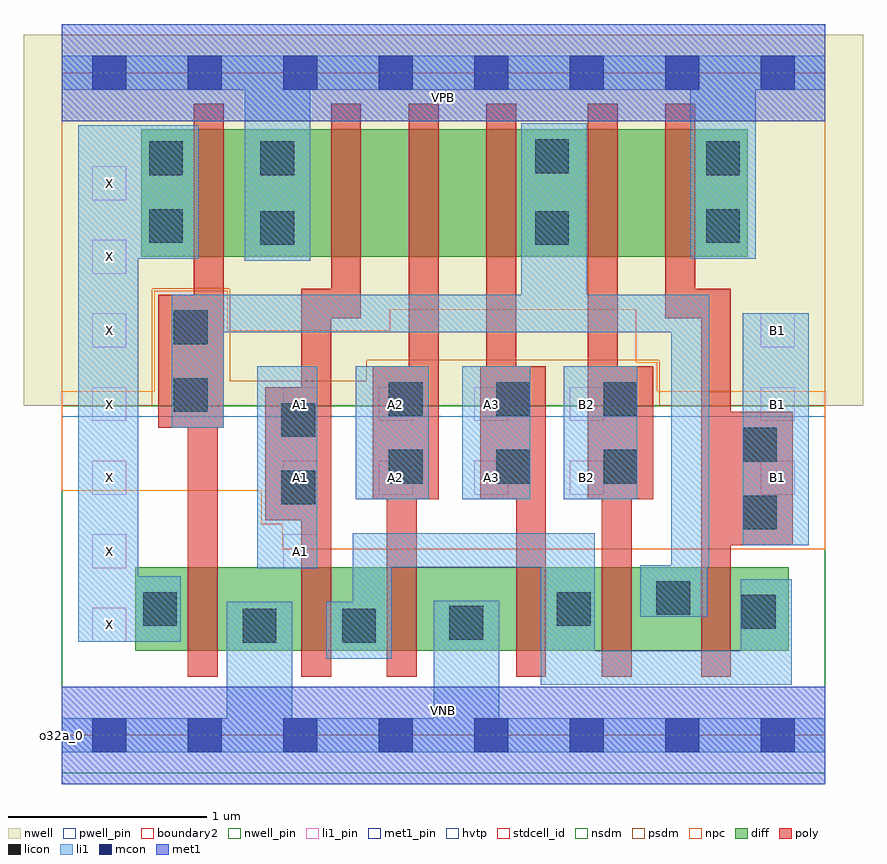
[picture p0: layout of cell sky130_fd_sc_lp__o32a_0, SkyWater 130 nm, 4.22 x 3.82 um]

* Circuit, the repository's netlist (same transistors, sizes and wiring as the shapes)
* Copyright 2020 The SkyWater PDK Authors
*
* Licensed under the Apache License, Version 2.0 (the "License");
* you may not use this file except in compliance with the License.
* You may obtain a copy of the License at
*
*     https://www.apache.org/licenses/LICENSE-2.0
*
* Unless required by applicable law or agreed to in writing, software
* distributed under the License is distributed on an "AS IS" BASIS,
* WITHOUT WARRANTIES OR CONDITIONS OF ANY KIND, either express or implied.
* See the License for the specific language governing permissions and
* limitations under the License.
*
* SPDX-License-Identifier: Apache-2.0

.SUBCKT sky130_fd_sc_lp__o32a_0 A1 A2 A3 B1 B2 VGND VNB VPB VPWR X
*.PININFO A1:I A2:I A3:I B1:I B2:I VGND:I VNB:I VPB:I VPWR:I X:O
MMPA0 VPWR A1 sndA1 VPB sky130_fd_pr__pfet_01v8_hvt m=1 w=0.64U l=0.15U mult=1
+ sa=0.265 sb=0.265 sd=0.28 area=0.063 perim=1.14
MMPA1 sndA1 A2 sndA2 VPB sky130_fd_pr__pfet_01v8_hvt m=1 w=0.64U l=0.15U mult=1
+ sa=0.265 sb=0.265 sd=0.28 area=0.063 perim=1.14
MMPA2 sndA2 A3 y VPB sky130_fd_pr__pfet_01v8_hvt m=1 w=0.64U l=0.15U mult=1 sa=0.265
+ sb=0.265 sd=0.28 area=0.063 perim=1.14
MMPB0 VPWR B1 sndB1 VPB sky130_fd_pr__pfet_01v8_hvt m=1 w=0.64U l=0.15U mult=1
+ sa=0.265 sb=0.265 sd=0.28 area=0.063 perim=1.14
MMPB1 sndB1 B2 y VPB sky130_fd_pr__pfet_01v8_hvt m=1 w=0.64U l=0.15U mult=1 sa=0.265
+ sb=0.265 sd=0.28 area=0.063 perim=1.14
MMIPX X y VPWR VPB sky130_fd_pr__pfet_01v8_hvt m=1 w=0.64U l=0.15U mult=1 sa=0.265
+ sb=0.265 sd=0.28 area=0.063 perim=1.14
MMNA0 pndA A1 VGND VNB sky130_fd_pr__nfet_01v8 m=1 w=0.42U l=0.15U mult=1 sa=0.265
+ sb=0.265 sd=0.28 area=0.063 perim=1.14
MMNA1 pndA A2 VGND VNB sky130_fd_pr__nfet_01v8 m=1 w=0.42U l=0.15U mult=1 sa=0.265
+ sb=0.265 sd=0.28 area=0.063 perim=1.14
MMNA2 pndA A3 VGND VNB sky130_fd_pr__nfet_01v8 m=1 w=0.42U l=0.15U mult=1 sa=0.265
+ sb=0.265 sd=0.28 area=0.063 perim=1.14
MMNB0 y B1 pndA VNB sky130_fd_pr__nfet_01v8 m=1 w=0.42U l=0.15U mult=1 sa=0.265
+ sb=0.265 sd=0.28 area=0.063 perim=1.14
MMNB1 y B2 pndA VNB sky130_fd_pr__nfet_01v8 m=1 w=0.42U l=0.15U mult=1 sa=0.265
+ sb=0.265 sd=0.28 area=0.063 perim=1.14
MMINX X y VGND VNB sky130_fd_pr__nfet_01v8 m=1 w=0.42U l=0.15U mult=1 sa=0.265
+ sb=0.265 sd=0.28 area=0.063 perim=1.14
.ENDS sky130_fd_sc_lp__o32a_0

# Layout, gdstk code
import gdstk
lib = gdstk.Library(unit=1e-6, precision=1e-09)
def R(c, l, rs):  # rectangles x0, y0, x1, y1
    for r in rs: c.add(gdstk.rectangle(r[:2], r[2:], *l))
def A(c, l, x, y, w, h, nx, ny, dx, dy):  # array of equal rectangles
    R(c, l, [(x+i*dx, y+j*dy, x+i*dx+w, y+j*dy+h) for i in range(nx) for j in range(ny)])
def P(c, l, *ps):  # polygons
    for p in ps: c.add(gdstk.Polygon(p, *l))
nwell_pin = (64, 16)
nwell = (64, 20)
diff = (65, 20)
poly = (66, 20)
licon = (66, 44)
li1_pin = (67, 16)
li1 = (67, 20)
mcon = (67, 44)
met1_pin = (68, 16)
met1 = (68, 20)
hvtp = (78, 44)
stdcell_id = (81, 4)
nsdm = (93, 44)
psdm = (94, 20)
npc = (95, 20)
pwell_pin = (122, 16)
boundary2 = (236, 0)

sky130_fd_sc_lp__o32a_0 = lib.new_cell('sky130_fd_sc_lp__o32a_0')
R(sky130_fd_sc_lp__o32a_0, nwell_pin, [(0,3.085,3.84,3.33)])
R(sky130_fd_sc_lp__o32a_0, nwell, [(-0.19,1.655,4.03,3.52)])
R(sky130_fd_sc_lp__o32a_0, diff, [(0.37,0.425,3.655,0.845), (0.4,2.405,3.45,3.045)])
P(sky130_fd_sc_lp__o32a_0, poly, [(0.815,3.175),(0.665,3.175),(0.665,2.215),(0.485,2.215),(0.485,1.545),(0.635,1.545),(0.635,0.295),(0.785,0.295),(0.785,1.545),(0.815,1.545)],
  [(2.435,1.855),(2.285,1.855),(2.285,3.175),(2.135,3.175),(2.135,1.855),(2.105,1.855),(2.105,1.185),(2.285,1.185),(2.285,0.295),(2.435,0.295)],
  [(3.675,1.625),(3.365,1.625),(3.365,2.245),(3.185,2.245),(3.185,3.175),(3.035,3.175),(3.035,2.095),(3.215,2.095),(3.215,0.295),(3.365,0.295),(3.365,0.955),(3.675,0.955)],
  [(2.975,1.855),(2.795,1.855),(2.795,3.175),(2.645,3.175),(2.645,1.185),(2.715,1.185),(2.715,0.295),(2.865,0.295),(2.865,1.185),(2.975,1.185)],
  [(1.505,3.175),(1.355,3.175),(1.355,2.245),(1.205,2.245),(1.205,1.75),(1.025,1.75),(1.025,1.08),(1.205,1.08),(1.205,0.295),(1.355,0.295),(1.355,2.095),(1.505,2.095)],
  [(1.895,3.175),(1.745,3.175),(1.745,1.855),(1.565,1.855),(1.565,1.185),(1.635,1.185),(1.635,0.295),(1.785,0.295),(1.785,1.185),(1.895,1.185)])
A(sky130_fd_sc_lp__o32a_0, licon, 1.645, 1.265, 0.17, 0.17, 3, 2, 0.54, 0.34)
R(sky130_fd_sc_lp__o32a_0, licon, [(0.91,0.465,1.08,0.635), (1.41,0.465,1.58,0.635), (1.95,0.48,2.12,0.65), (3.42,0.535,3.59,0.705), (0.41,0.55,0.58,0.72), (2.49,0.55,2.66,0.72), (2.99,0.605,3.16,0.775), (3.425,1.035,3.595,1.205), (1.105,1.16,1.275,1.33), (3.425,1.375,3.595,1.545), (1.105,1.5,1.275,1.67), (0.565,1.625,0.735,1.795), (0.565,1.965,0.735,2.135), (1,2.465,1.17,2.635), (2.38,2.465,2.55,2.635), (0.44,2.475,0.61,2.645), (3.24,2.475,3.41,2.645), (0.44,2.815,0.61,2.985), (1,2.815,1.17,2.985), (3.24,2.815,3.41,2.985), (2.38,2.825,2.55,2.995)])
A(sky130_fd_sc_lp__o32a_0, li1_pin, 0.155, 0.47, 0.17, 0.17, 1, 7, 0, 0.37)
A(sky130_fd_sc_lp__o32a_0, li1_pin, 1.115, 1.21, 0.17, 0.17, 4, 2, 0.48, 0.37)
A(sky130_fd_sc_lp__o32a_0, li1_pin, 3.515, 1.21, 0.17, 0.17, 1, 3, 0, 0.37)
R(sky130_fd_sc_lp__o32a_0, li1_pin, [(1.115,0.84,1.285,1.01)])
R(sky130_fd_sc_lp__o32a_0, li1, [(0.985,0.84,1.285,1.855), (3.425,0.955,3.755,2.12), (1.48,1.185,1.845,1.855), (2.015,1.185,2.355,1.855), (2.525,1.185,2.895,1.855)])
P(sky130_fd_sc_lp__o32a_0, li1, [(0.69,3.065),(0.085,3.065),(0.085,0.47),(0.6,0.47),(0.6,0.8),(0.385,0.8),(0.385,2.395),(0.69,2.395)],
  [(3.67,0.785),(3.415,0.785),(3.415,0.425),(2.68,0.425),(2.68,1.015),(1.465,1.015),(1.465,0.67),(1.33,0.67),(1.33,0.385),(1.66,0.385),(1.66,0.845),(2.41,0.845),(2.41,0.255),(3.67,0.255)],
  [(3.255,2.215),(2.64,2.215),(2.64,3.075),(2.31,3.075),(2.31,2.215),(0.555,2.215),(0.555,1.545),(0.815,1.545),(0.815,2.025),(3.065,2.025),(3.065,0.855),(2.91,0.855),(2.91,0.595),(3.245,0.595),(3.245,0.845),(3.255,0.845)],
  [(3.84,0.085),(2.2,0.085),(2.2,0.675),(1.87,0.675),(1.87,0.085),(1.16,0.085),(1.16,0.67),(0.83,0.67),(0.83,0.085),(0,0.085),(0,-0.085),(3.84,-0.085)],
  [(3.84,3.415),(0,3.415),(0,3.245),(0.92,3.245),(0.92,2.385),(1.25,2.385),(1.25,3.245),(3.16,3.245),(3.16,2.395),(3.49,2.395),(3.49,3.245),(3.84,3.245)])
A(sky130_fd_sc_lp__o32a_0, mcon, 0.155, -0.085, 0.17, 0.17, 8, 2, 0.48, 3.33)
R(sky130_fd_sc_lp__o32a_0, met1_pin, [(0,0,3.84,0.245), (0,3.085,3.84,3.33)])
R(sky130_fd_sc_lp__o32a_0, met1, [(0,-0.245,3.84,0.245), (0,3.085,3.84,3.575)])
R(sky130_fd_sc_lp__o32a_0, hvtp, [(0,1.6,3.84,3.33)])
R(sky130_fd_sc_lp__o32a_0, stdcell_id, [(0,0,3.84,3.33)])
R(sky130_fd_sc_lp__o32a_0, nsdm, [(0,-0.19,3.84,1.655)])
P(sky130_fd_sc_lp__o32a_0, psdm, [(3.84,3.52),(0,3.52),(0,1.655),(0.455,1.655),(0.455,2.245),(0.845,2.245),(0.845,1.78),(1.535,1.78),(1.535,1.885),(3.005,1.885),(3.005,1.655),(3.84,1.655)])
P(sky130_fd_sc_lp__o32a_0, npc, [(3.84,1.73),(2.995,1.73),(2.995,1.875),(2.89,1.875),(2.89,2.14),(1.65,2.14),(1.65,2.035),(0.835,2.035),(0.835,2.235),(0.465,2.235),(0.465,1.73),(0,1.73),(0,1.23),(1.005,1.23),(1.005,1.06),(1.11,1.06),(1.11,0.935),(3.84,0.935)])
R(sky130_fd_sc_lp__o32a_0, pwell_pin, [(0,0,3.84,0.245)])
R(sky130_fd_sc_lp__o32a_0, boundary2, [(0,0,3.84,3.33)])
sky130_fd_sc_lp__o32a_0.add(gdstk.Label('VNB', (1.92,0.123), layer=64, texttype=59))
sky130_fd_sc_lp__o32a_0.add(gdstk.Label('VPB', (1.92,3.208), layer=64, texttype=5))
sky130_fd_sc_lp__o32a_0.add(gdstk.Label('o32a_0', (0,0), layer=83, texttype=44))
sky130_fd_sc_lp__o32a_0.add(gdstk.Label('VPWR', (1.92,3.208), layer=68, texttype=5))
sky130_fd_sc_lp__o32a_0.add(gdstk.Label('VGND', (1.92,0.123), layer=68, texttype=5))
sky130_fd_sc_lp__o32a_0.add(gdstk.Label('A1', (1.2,0.925), layer=67, texttype=5))
sky130_fd_sc_lp__o32a_0.add(gdstk.Label('A1', (1.2,1.295), layer=67, texttype=5))
sky130_fd_sc_lp__o32a_0.add(gdstk.Label('A1', (1.2,1.665), layer=67, texttype=5))
sky130_fd_sc_lp__o32a_0.add(gdstk.Label('A2', (1.68,1.295), layer=67, texttype=5))
sky130_fd_sc_lp__o32a_0.add(gdstk.Label('A2', (1.68,1.665), layer=67, texttype=5))
sky130_fd_sc_lp__o32a_0.add(gdstk.Label('A3', (2.16,1.295), layer=67, texttype=5))
sky130_fd_sc_lp__o32a_0.add(gdstk.Label('A3', (2.16,1.665), layer=67, texttype=5))
sky130_fd_sc_lp__o32a_0.add(gdstk.Label('B1', (3.6,1.295), layer=67, texttype=5))
sky130_fd_sc_lp__o32a_0.add(gdstk.Label('B1', (3.6,1.665), layer=67, texttype=5))
sky130_fd_sc_lp__o32a_0.add(gdstk.Label('B1', (3.6,2.035), layer=67, texttype=5))
sky130_fd_sc_lp__o32a_0.add(gdstk.Label('B2', (2.64,1.295), layer=67, texttype=5))
sky130_fd_sc_lp__o32a_0.add(gdstk.Label('B2', (2.64,1.665), layer=67, texttype=5))
sky130_fd_sc_lp__o32a_0.add(gdstk.Label('X', (0.24,0.555), layer=67, texttype=5))
sky130_fd_sc_lp__o32a_0.add(gdstk.Label('X', (0.24,0.925), layer=67, texttype=5))
sky130_fd_sc_lp__o32a_0.add(gdstk.Label('X', (0.24,1.295), layer=67, texttype=5))
sky130_fd_sc_lp__o32a_0.add(gdstk.Label('X', (0.24,1.665), layer=67, texttype=5))
sky130_fd_sc_lp__o32a_0.add(gdstk.Label('X', (0.24,2.035), layer=67, texttype=5))
sky130_fd_sc_lp__o32a_0.add(gdstk.Label('X', (0.24,2.405), layer=67, texttype=5))
sky130_fd_sc_lp__o32a_0.add(gdstk.Label('X', (0.24,2.775), layer=67, texttype=5))

lib.write_gds('sky130_fd_sc_lp__o32a_0.gds')
